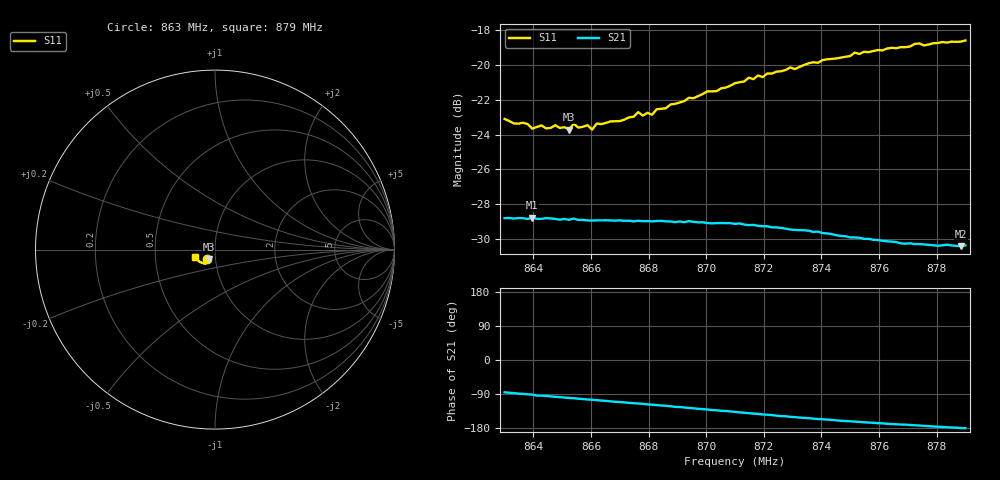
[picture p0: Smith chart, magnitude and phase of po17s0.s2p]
# HZ S RI R 50
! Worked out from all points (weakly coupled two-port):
!   101 points, 863 MHz to 879 MHz, reference 50 ohm
!   highest |S21| = -28.77 dB at 863.96 MHz (marker M1); lowest = -30.4 dB at 878.84 MHz (marker M2)
!   lowest |S11| = -23.7 dB at 865.24 MHz (marker M3), VSWR 1.14, Z = 46.2 - j5.04 ohm
!   |S11| at or under -10 dB: start of sweep to end of sweep
!   S12 and S22 are empty: the file has one direction only
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8.63e8  -0.0452 -0.0534  0.00305 -0.0362  0 0  0 0
8.6332e8  -0.0433 -0.0524  0.00169 -0.0362  0 0  0 0
8.638e8  -0.0413 -0.0536  -0.000284 -0.0361  0 0  0 0
8.6396e8  -0.0389 -0.0529  -0.000815 -0.0364  0 0  0 0
8.6476e8  -0.0388 -0.0548  -0.00443 -0.0358  0 0  0 0
8.6524e8  -0.0362 -0.0543  -0.00628 -0.0354  0 0  0 0
8.654e8  -0.0385 -0.0558  -0.00681 -0.0356  0 0  0 0
8.6572e8  -0.0341 -0.057  -0.00808 -0.035  0 0  0 0
8.6588e8  -0.0357 -0.0569  -0.00875 -0.0347  0 0  0 0
8.6604e8  -0.0335 -0.056  -0.00923 -0.0345  0 0  0 0
8.662e8  -0.0352 -0.058  -0.00982 -0.0344  0 0  0 0
8.67e8  -0.034 -0.06  -0.0126 -0.0335  0 0  0 0
8.6764e8  -0.0358 -0.0639  -0.0149 -0.0324  0 0  0 0
8.678e8  -0.0345 -0.0627  -0.0155 -0.032  0 0  0 0
8.6812e8  -0.0344 -0.0632  -0.0166 -0.0314  0 0  0 0
8.6828e8  -0.0352 -0.0658  -0.0172 -0.0312  0 0  0 0
8.6844e8  -0.0353 -0.066  -0.0178 -0.0309  0 0  0 0
8.71e8  -0.0474 -0.0749  -0.0255 -0.0239  0 0  0 0
8.7372e8  -0.0688 -0.0752  -0.03 -0.0141  0 0  0 0
8.7644e8  -0.0937 -0.0615  -0.0305 -0.00588  0 0  0 0
8.7884e8  -0.1094 -0.0407  -0.0302 -0.000276  0 0  0 0
8.79e8  -0.1109 -0.0393  -0.0303 -6e-06  0 0  0 0
